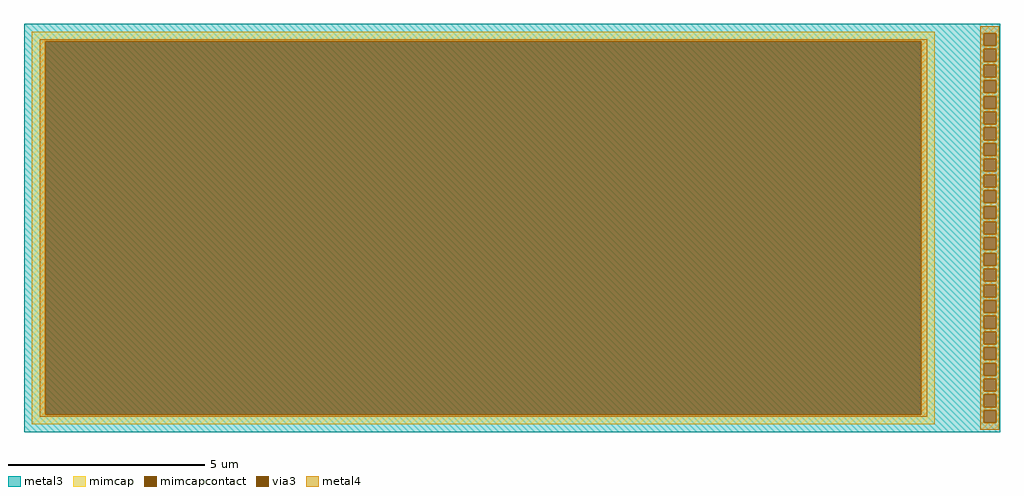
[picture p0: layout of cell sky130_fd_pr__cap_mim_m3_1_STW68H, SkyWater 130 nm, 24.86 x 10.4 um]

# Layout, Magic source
magic
tech sky130A
magscale 1 2
<< metal3 >>
rect -2486 992 2486 1040
rect -2486 928 2402 992
rect 2466 928 2486 992
rect -2486 912 2486 928
rect -2486 848 2402 912
rect 2466 848 2486 912
rect -2486 832 2486 848
rect -2486 768 2402 832
rect 2466 768 2486 832
rect -2486 752 2486 768
rect -2486 688 2402 752
rect 2466 688 2486 752
rect -2486 672 2486 688
rect -2486 608 2402 672
rect 2466 608 2486 672
rect -2486 592 2486 608
rect -2486 528 2402 592
rect 2466 528 2486 592
rect -2486 512 2486 528
rect -2486 448 2402 512
rect 2466 448 2486 512
rect -2486 432 2486 448
rect -2486 368 2402 432
rect 2466 368 2486 432
rect -2486 352 2486 368
rect -2486 288 2402 352
rect 2466 288 2486 352
rect -2486 272 2486 288
rect -2486 208 2402 272
rect 2466 208 2486 272
rect -2486 192 2486 208
rect -2486 128 2402 192
rect 2466 128 2486 192
rect -2486 112 2486 128
rect -2486 48 2402 112
rect 2466 48 2486 112
rect -2486 32 2486 48
rect -2486 -32 2402 32
rect 2466 -32 2486 32
rect -2486 -48 2486 -32
rect -2486 -112 2402 -48
rect 2466 -112 2486 -48
rect -2486 -128 2486 -112
rect -2486 -192 2402 -128
rect 2466 -192 2486 -128
rect -2486 -208 2486 -192
rect -2486 -272 2402 -208
rect 2466 -272 2486 -208
rect -2486 -288 2486 -272
rect -2486 -352 2402 -288
rect 2466 -352 2486 -288
rect -2486 -368 2486 -352
rect -2486 -432 2402 -368
rect 2466 -432 2486 -368
rect -2486 -448 2486 -432
rect -2486 -512 2402 -448
rect 2466 -512 2486 -448
rect -2486 -528 2486 -512
rect -2486 -592 2402 -528
rect 2466 -592 2486 -528
rect -2486 -608 2486 -592
rect -2486 -672 2402 -608
rect 2466 -672 2486 -608
rect -2486 -688 2486 -672
rect -2486 -752 2402 -688
rect 2466 -752 2486 -688
rect -2486 -768 2486 -752
rect -2486 -832 2402 -768
rect 2466 -832 2486 -768
rect -2486 -848 2486 -832
rect -2486 -912 2402 -848
rect 2466 -912 2486 -848
rect -2486 -928 2486 -912
rect -2486 -992 2402 -928
rect 2466 -992 2486 -928
rect -2486 -1040 2486 -992
<< via3 >>
rect 2402 928 2466 992
rect 2402 848 2466 912
rect 2402 768 2466 832
rect 2402 688 2466 752
rect 2402 608 2466 672
rect 2402 528 2466 592
rect 2402 448 2466 512
rect 2402 368 2466 432
rect 2402 288 2466 352
rect 2402 208 2466 272
rect 2402 128 2466 192
rect 2402 48 2466 112
rect 2402 -32 2466 32
rect 2402 -112 2466 -48
rect 2402 -192 2466 -128
rect 2402 -272 2466 -208
rect 2402 -352 2466 -288
rect 2402 -432 2466 -368
rect 2402 -512 2466 -448
rect 2402 -592 2466 -528
rect 2402 -672 2466 -608
rect 2402 -752 2466 -688
rect 2402 -832 2466 -768
rect 2402 -912 2466 -848
rect 2402 -992 2466 -928
<< mimcap >>
rect -2446 952 2154 1000
rect -2446 -952 -2378 952
rect 2086 -952 2154 952
rect -2446 -1000 2154 -952
<< mimcapcontact >>
rect -2378 -952 2086 952
<< metal4 >>
rect 2386 992 2482 1028
rect -2407 952 2115 961
rect -2407 -952 -2378 952
rect 2086 -952 2115 952
rect -2407 -961 2115 -952
rect 2386 928 2402 992
rect 2466 928 2482 992
rect 2386 912 2482 928
rect 2386 848 2402 912
rect 2466 848 2482 912
rect 2386 832 2482 848
rect 2386 768 2402 832
rect 2466 768 2482 832
rect 2386 752 2482 768
rect 2386 688 2402 752
rect 2466 688 2482 752
rect 2386 672 2482 688
rect 2386 608 2402 672
rect 2466 608 2482 672
rect 2386 592 2482 608
rect 2386 528 2402 592
rect 2466 528 2482 592
rect 2386 512 2482 528
rect 2386 448 2402 512
rect 2466 448 2482 512
rect 2386 432 2482 448
rect 2386 368 2402 432
rect 2466 368 2482 432
rect 2386 352 2482 368
rect 2386 288 2402 352
rect 2466 288 2482 352
rect 2386 272 2482 288
rect 2386 208 2402 272
rect 2466 208 2482 272
rect 2386 192 2482 208
rect 2386 128 2402 192
rect 2466 128 2482 192
rect 2386 112 2482 128
rect 2386 48 2402 112
rect 2466 48 2482 112
rect 2386 32 2482 48
rect 2386 -32 2402 32
rect 2466 -32 2482 32
rect 2386 -48 2482 -32
rect 2386 -112 2402 -48
rect 2466 -112 2482 -48
rect 2386 -128 2482 -112
rect 2386 -192 2402 -128
rect 2466 -192 2482 -128
rect 2386 -208 2482 -192
rect 2386 -272 2402 -208
rect 2466 -272 2482 -208
rect 2386 -288 2482 -272
rect 2386 -352 2402 -288
rect 2466 -352 2482 -288
rect 2386 -368 2482 -352
rect 2386 -432 2402 -368
rect 2466 -432 2482 -368
rect 2386 -448 2482 -432
rect 2386 -512 2402 -448
rect 2466 -512 2482 -448
rect 2386 -528 2482 -512
rect 2386 -592 2402 -528
rect 2466 -592 2482 -528
rect 2386 -608 2482 -592
rect 2386 -672 2402 -608
rect 2466 -672 2482 -608
rect 2386 -688 2482 -672
rect 2386 -752 2402 -688
rect 2466 -752 2482 -688
rect 2386 -768 2482 -752
rect 2386 -832 2402 -768
rect 2466 -832 2482 -768
rect 2386 -848 2482 -832
rect 2386 -912 2402 -848
rect 2466 -912 2482 -848
rect 2386 -928 2482 -912
rect 2386 -992 2402 -928
rect 2466 -992 2482 -928
rect 2386 -1028 2482 -992
<< properties >>
string FIXED_BBOX -2486 -1040 2194 1040
<< end >>
